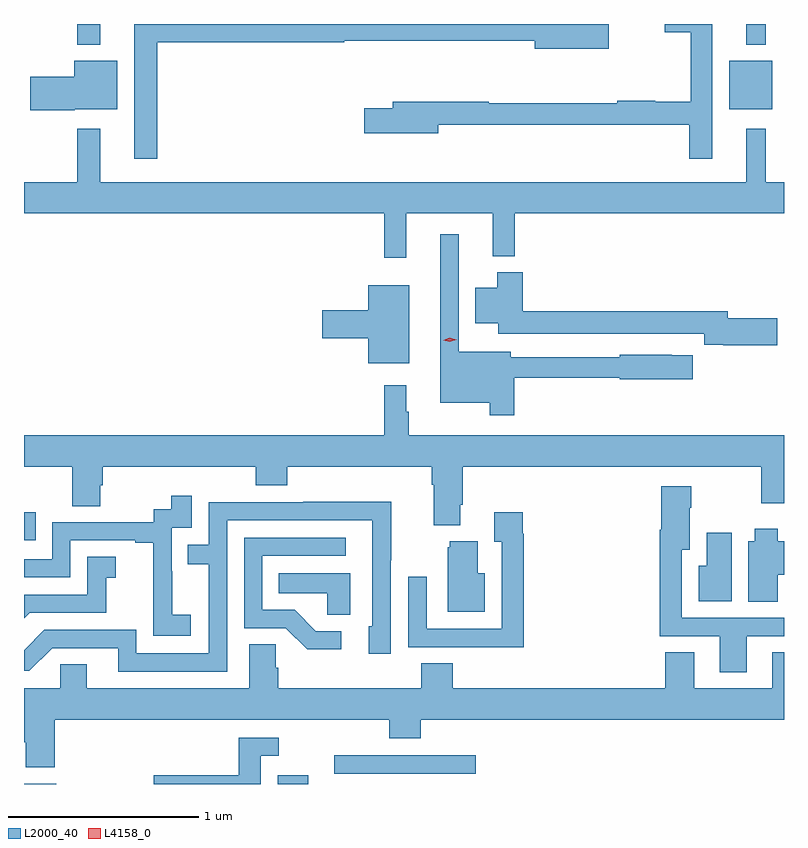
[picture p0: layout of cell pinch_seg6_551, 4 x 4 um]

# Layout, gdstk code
import gdstk
lib = gdstk.Library(unit=1e-6, precision=1e-09)
def R(c, l, rs):  # rectangles x0, y0, x1, y1
    for r in rs: c.add(gdstk.rectangle(r[:2], r[2:], *l))
def P(c, l, *ps):  # polygons
    for p in ps: c.add(gdstk.Polygon(p, *l))
L2000_40 = (2000, 40)
L4158_0 = (4158, 0)

pinch_seg6_551 = lib.new_cell('pinch_seg6_551')
R(pinch_seg6_551, L2000_40, [(621.752,965.645,621.922,965.647), (623.087,965.645,623.248,965.692), (623.385,965.7,624.13,965.796), (621.752,966.927,621.815,967.075), (625.463,969.197,625.69,969.451), (622.032,969.536,622.153,969.645), (625.553,969.536,625.657,969.645)])
P(pinch_seg6_551, L2000_40, [(622.453,969.55),(623.438,969.55),(623.438,969.558),(624.44,969.558),(624.44,969.515),(624.829,969.515),(624.829,969.645),(622.331,969.645),(622.331,968.937),(622.453,968.937)],
  [(625.375,969.645),(625.124,969.645),(625.124,969.602),(625.261,969.602),(625.261,969.235),(625.075,969.235),(625.075,969.242),(624.875,969.242),(624.875,969.227),(624.197,969.227),(624.197,969.235),(623.693,969.235),(623.693,969.201),(623.544,969.201),(623.544,969.071),(623.932,969.071),(623.932,969.114),(625.254,969.114),(625.254,968.937),(625.375,968.937)],
  [(622.02,969.197),(622.243,969.197),(622.243,969.451),(622.016,969.451),(622.016,969.368),(621.786,969.368),(621.786,969.19),(622.02,969.19)],
  [(623.765,968.648),(624.218,968.648),(624.218,968.423),(624.335,968.423),(624.335,968.648),(625.752,968.648),(625.752,968.812),(625.657,968.812),(625.657,969.094),(625.553,969.094),(625.553,968.812),(622.153,968.812),(622.153,969.094),(622.032,969.094),(622.032,968.812),(621.752,968.812),(621.752,968.648),(623.647,968.648),(623.647,968.415),(623.765,968.415)],
  [(624.332,967.782),(624.888,967.782),(624.888,967.774),(625.271,967.774),(625.271,967.901),(625.16,967.901),(625.16,967.903),(624.888,967.903),(624.888,967.89),(624.313,967.89),(624.313,967.921),(624.039,967.921),(624.039,968.539),(623.942,968.539),(623.942,967.652),(624.204,967.652),(624.204,967.587),(624.332,967.587)],
  [(625.717,968.096),(625.456,968.096),(625.456,968.132),(624.377,968.132),(624.377,968.338),(624.242,968.338),(624.242,968.257),(624.128,968.257),(624.128,968.069),(624.248,968.069),(624.248,968.016),(625.331,968.016),(625.331,967.956),(625.432,967.956),(625.432,967.954),(625.717,967.954)],
  [(623.779,968.269),(623.564,968.269),(623.564,968.138),(623.322,968.138),(623.322,967.991),(623.564,967.991),(623.564,967.859),(623.779,967.859)],
  [(624.049,967.114),(624.062,967.114),(624.062,967.316),(625.633,967.316),(625.633,967.122),(625.752,967.122),(625.752,967.48),(623.776,967.48),(623.776,967.604),(623.764,967.604),(623.764,967.744),(623.647,967.744),(623.647,967.48),(621.752,967.48),(621.752,967.316),(622.006,967.316),(622.006,967.108),(622.153,967.108),(622.153,967.218),(622.166,967.218),(622.166,967.316),(622.973,967.316),(622.973,967.217),(623.138,967.217),(623.138,967.316),(623.897,967.316),(623.897,967.22),(623.909,967.22),(623.909,967.007),(624.049,967.007)],
  [(625.555,966.423),(625.752,966.423),(625.752,966.519),(625.215,966.519),(625.215,966.878),(625.255,966.878),(625.255,967.1),(625.263,967.1),(625.263,967.213),(625.106,967.213),(625.106,966.982),(625.099,966.982),(625.099,966.423),(625.415,966.423),(625.415,966.234),(625.555,966.234)],
  [(622.63,966.535),(622.532,966.535),(622.532,966.764),(622.53,966.764),(622.53,966.993),(622.635,966.993),(622.635,967.162),(622.527,967.162),(622.527,967.092),(622.434,967.092),(622.434,967.023),(621.9,967.023),(621.9,966.828),(621.752,966.828),(621.752,966.732),(621.996,966.732),(621.996,966.927),(622.337,966.927),(622.337,966.915),(622.433,966.915),(622.433,966.631),(622.432,966.631),(622.432,966.425),(622.63,966.425)],
  [(622.821,967.032),(623.586,967.032),(623.586,966.474),(623.567,966.474),(623.567,966.33),(623.682,966.33),(623.682,966.823),(623.685,966.823),(623.685,967.13),(623.221,967.13),(623.221,967.128),(622.725,967.128),(622.725,966.903),(622.615,966.903),(622.615,966.802),(622.725,966.802),(622.725,966.333),(622.344,966.333),(622.344,966.456),(621.858,966.456),(621.752,966.35),(621.752,966.24),(621.78,966.24),(621.9,966.36),(622.247,966.36),(622.247,966.237),(622.821,966.237)],
  [(624.383,966.962),(624.376,966.962),(624.376,967.075),(624.227,967.075),(624.227,966.919),(624.267,966.919),(624.267,966.462),(623.871,966.462),(623.871,966.736),(623.775,966.736),(623.775,966.366),(624.091,966.366),(624.091,966.365),(624.383,966.365)],
  [(625.72,966.746),(625.752,966.746),(625.752,966.922),(625.72,966.922),(625.72,966.988),(625.598,966.988),(625.598,966.922),(625.565,966.922),(625.565,966.604),(625.72,966.604)],
  [(625.477,966.967),(625.346,966.967),(625.346,966.793),(625.304,966.793),(625.304,966.608),(625.477,966.608)],
  [(623.422,966.45),(623.287,966.45),(623.176,966.561),(623.007,966.561),(623.007,966.846),(623.446,966.846),(623.446,966.942),(622.911,966.942),(622.911,966.465),(623.13,966.465),(623.243,966.353),(623.422,966.353)],
  [(624.178,966.754),(624.139,966.754),(624.139,966.922),(623.993,966.922),(623.993,966.891),(623.981,966.891),(623.981,966.551),(624.178,966.551)],
  [(621.781,966.546),(622.185,966.546),(622.185,966.731),(622.234,966.731),(622.234,966.841),(622.086,966.841),(622.086,966.642),(621.752,966.642),(621.752,966.517)],
  [(623.47,966.754),(623.092,966.754),(623.092,966.65),(623.349,966.65),(623.349,966.535),(623.47,966.535)],
  [(621.914,965.984),(623.675,965.984),(623.675,965.885),(623.84,965.885),(623.84,965.984),(625.752,965.984),(625.752,966.338),(625.691,966.338),(625.691,966.148),(625.279,966.148),(625.279,966.338),(625.127,966.338),(625.127,966.148),(624.008,966.148),(624.008,966.281),(623.843,966.281),(623.843,966.148),(623.09,966.148),(623.09,966.257),(623.076,966.257),(623.076,966.38),(622.937,966.38),(622.937,966.148),(622.081,966.148),(622.081,966.275),(621.942,966.275),(621.942,966.148),(621.752,966.148),(621.752,965.984),(621.754,965.984),(621.754,965.864),(621.761,965.864),(621.761,965.732),(621.914,965.732)],
  [(622.998,965.793),(623.092,965.793),(623.092,965.889),(622.882,965.889),(622.882,965.691),(622.434,965.691),(622.434,965.645),(622.998,965.645)])
P(pinch_seg6_551, L4158_0, [(623.994,967.973),(623.958,967.981),(623.957,967.981),(623.958,967.981),(623.993,967.993),(624.028,967.984),(624.029,967.984),(624.028,967.984)])

lib.write_gds('pinch_seg6_551.gds')
